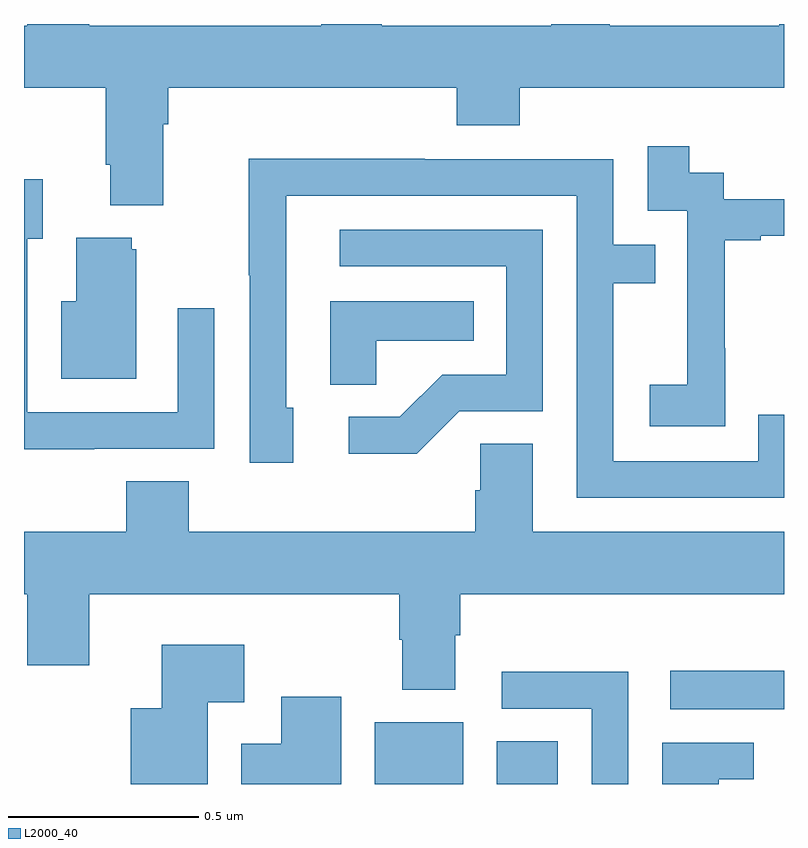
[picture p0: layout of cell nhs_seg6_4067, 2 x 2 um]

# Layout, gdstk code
import gdstk
lib = gdstk.Library(unit=1e-6, precision=1e-09)
def R(c, l, rs):  # rectangles x0, y0, x1, y1
    for r in rs: c.add(gdstk.rectangle(r[:2], r[2:], *l))
def P(c, l, *ps):  # polygons
    for p in ps: c.add(gdstk.Polygon(p, *l))
L2000_40 = (2000, 40)

nhs_seg6_4067 = lib.new_cell('nhs_seg6_4067')
R(nhs_seg6_4067, L2000_40, [(165.923,949.5,166.156,949.663), (166.244,949.5,166.405,949.613), (166.701,949.697,167,949.798)])
P(nhs_seg6_4067, L2000_40, [(165.942,951.5),(165.782,951.5),(165.782,951.496),(165.172,951.496),(165.172,951.5),(165.008,951.5),(165.008,951.496),(165,951.496),(165,951.332),(165.215,951.332),(165.215,951.13),(165.227,951.13),(165.227,951.023),(165.367,951.023),(165.367,951.236),(165.38,951.236),(165.38,951.332),(166.139,951.332),(166.139,951.233),(166.304,951.233),(166.304,951.332),(167,951.332),(167,951.5),(166.987,951.5),(166.987,951.496),(166.542,951.496),(166.542,951.5),(166.387,951.5),(166.387,951.496),(165.942,951.496)],
  [(166.845,950.647),(166.844,950.647),(166.844,950.931),(166.939,950.931),(166.939,950.943),(167,950.943),(167,951.039),(166.842,951.039),(166.842,951.108),(166.75,951.108),(166.75,951.178),(166.641,951.178),(166.641,951.009),(166.746,951.009),(166.746,950.78),(166.745,950.78),(166.745,950.551),(166.647,950.551),(166.647,950.441),(166.845,950.441)],
  [(167,950.472),(166.932,950.472),(166.932,950.349),(166.551,950.349),(166.551,950.818),(166.661,950.818),(166.661,950.919),(166.551,950.919),(166.551,951.144),(166.055,951.144),(166.055,951.146),(165.592,951.146),(165.592,950.839),(165.594,950.839),(165.594,950.346),(165.709,950.346),(165.709,950.49),(165.69,950.49),(165.69,951.048),(166.455,951.048),(166.455,950.253),(167,950.253)],
  [(165.185,950.382),(165.501,950.382),(165.501,950.752),(165.405,950.752),(165.405,950.478),(165.009,950.478),(165.009,950.935),(165.049,950.935),(165.049,951.091),(165,951.091),(165,950.381),(165.185,950.381)],
  [(166.146,950.481),(166.365,950.481),(166.365,950.958),(165.831,950.958),(165.831,950.862),(166.269,950.862),(166.269,950.577),(166.1,950.577),(165.989,950.466),(165.855,950.466),(165.855,950.369),(166.033,950.369)],
  [(165.295,950.907),(165.284,950.907),(165.284,950.938),(165.137,950.938),(165.137,950.77),(165.098,950.77),(165.098,950.567),(165.295,950.567)],
  [(165.927,950.666),(166.184,950.666),(166.184,950.77),(165.806,950.77),(165.806,950.551),(165.927,950.551)],
  [(166.135,949.891),(166.148,949.891),(166.148,950),(167,950),(167,950.164),(166.339,950.164),(166.339,950.396),(166.2,950.396),(166.2,950.273),(166.187,950.273),(166.187,950.164),(165.434,950.164),(165.434,950.297),(165.269,950.297),(165.269,950.164),(165,950.164),(165,950),(165.008,950),(165.008,949.812),(165.172,949.812),(165.172,950),(165.988,950),(165.988,949.88),(165.995,949.88),(165.995,949.748),(166.135,949.748)],
  [(165.484,949.715),(165.58,949.715),(165.58,949.867),(165.362,949.867),(165.362,949.699),(165.281,949.699),(165.281,949.5),(165.484,949.5)],
  [(166.59,949.796),(166.257,949.796),(166.257,949.698),(166.494,949.698),(166.494,949.5),(166.59,949.5)],
  [(165.835,949.729),(165.677,949.729),(165.677,949.606),(165.572,949.606),(165.572,949.5),(165.835,949.5)],
  [(166.828,949.512),(166.921,949.512),(166.921,949.608),(166.679,949.608),(166.679,949.5),(166.828,949.5)])

lib.write_gds('nhs_seg6_4067.gds')
